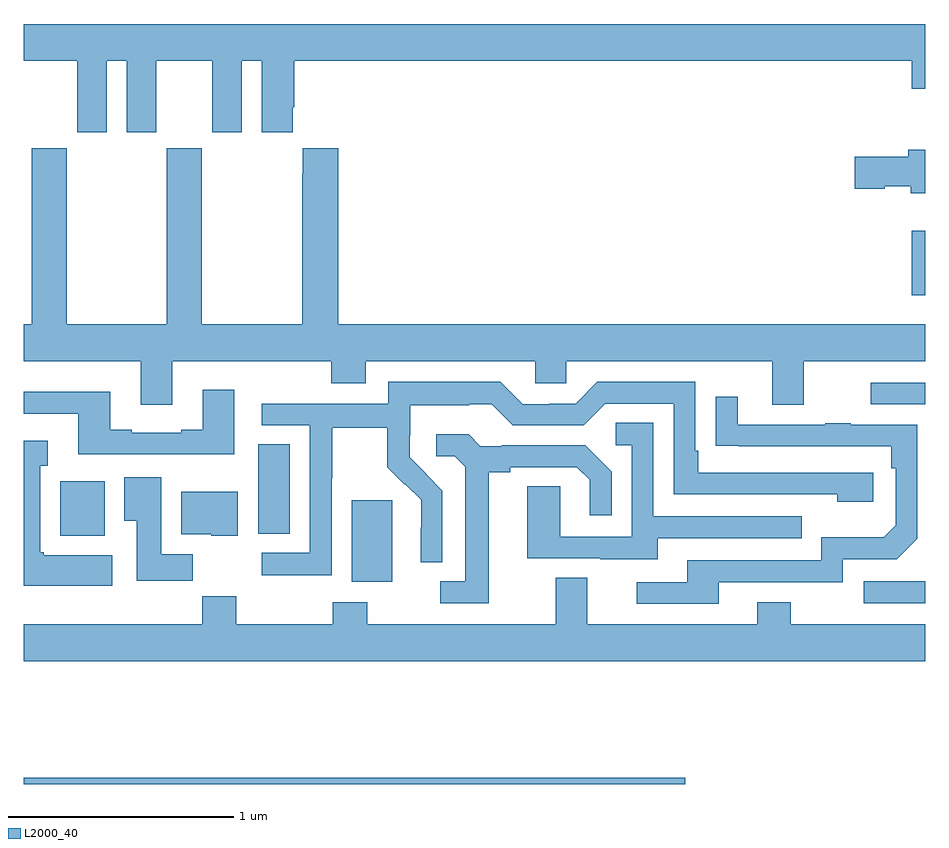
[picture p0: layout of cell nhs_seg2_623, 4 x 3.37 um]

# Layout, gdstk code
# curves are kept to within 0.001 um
import gdstk
lib = gdstk.Library(unit=1e-6, precision=1e-09)
def R(c, l, rs):  # rectangles x0, y0, x1, y1
    for r in rs: c.add(gdstk.rectangle(r[:2], r[2:], *l))
def P(c, l, *ps):  # polygons
    for p in ps: c.add(gdstk.Polygon(p, *l))
L2000_40 = (2000, 40)

nhs_seg2_623 = lib.new_cell('nhs_seg2_623')
R(nhs_seg2_623, L2000_40, [(143,605.8,145.936,605.828), (146.727,606.603,147,606.699), (144.455,606.698,144.634,607.059), (143.162,606.902,143.359,607.144), (144.041,606.91,144.181,607.307), (146.757,607.485,147,607.581), (146.939,607.968,147,608.254)])
P(nhs_seg2_623, L2000_40, [(143.368,609.008),(143.456,609.008),(143.456,608.691),(143.587,608.691),(143.587,609.008),(143.837,609.008),(143.837,608.691),(143.968,608.691),(143.968,609.008),(144.056,609.008),(144.056,608.691),(144.193,608.691),(144.193,608.803),(144.2,608.803),(144.2,609.008),(146.939,609.008),(146.939,608.884),(147,608.884),(147,609.172),(143,609.172),(143,609.008),(143.237,609.008),(143.237,608.691),(143.368,608.691)],
  [(147,608.614),(146.924,608.614),(146.924,608.583),(146.688,608.583),(146.688,608.441),(146.82,608.441),(146.82,608.453),(146.936,608.453),(146.936,608.42),(147,608.42)],
  [(144.395,608.62),(144.239,608.62),(144.239,608.507),(144.235,608.507),(144.235,607.84),(143.79,607.84),(143.79,608.62),(143.635,608.62),(143.635,607.84),(143.19,607.84),(143.19,608.62),(143.035,608.62),(143.035,607.84),(143,607.84),(143,607.676),(143.519,607.676),(143.519,607.482),(143.659,607.482),(143.659,607.676),(144.365,607.676),(144.365,607.577),(144.517,607.577),(144.517,607.676),(145.269,607.676),(145.269,607.578),(145.407,607.578),(145.407,607.676),(146.321,607.676),(146.321,607.482),(146.461,607.482),(146.461,607.676),(147,607.676),(147,607.84),(144.395,607.84)],
  [(144.366,607.156),(144.369,607.156),(144.369,607.38),(144.613,607.38),(144.613,607.205),(144.69,607.128),(144.693,607.131),(144.764,607.061),(144.764,606.938),(144.762,606.938),(144.762,606.784),(144.858,606.784),(144.858,607.102),(144.712,607.25),(144.712,607.347),(144.714,607.347),(144.714,607.481),(144.977,607.481),(144.977,607.485),(145.077,607.485),(145.17,607.392),(145.485,607.392),(145.581,607.488),(145.884,607.488),(145.884,607.086),(146.609,607.086),(146.609,607.052),(146.77,607.052),(146.77,607.182),(145.993,607.182),(145.993,607.279),(145.98,607.279),(145.98,607.584),(145.545,607.584),(145.449,607.488),(145.331,607.488),(145.331,607.485),(145.215,607.485),(145.115,607.585),(144.618,607.585),(144.618,607.488),(144.057,607.488),(144.057,607.392),(144.27,607.392),(144.27,606.825),(144.057,606.825),(144.057,606.727),(144.366,606.727)],
  [(143.935,607.549),(143.795,607.549),(143.795,607.372),(143.699,607.372),(143.699,607.359),(143.479,607.359),(143.479,607.372),(143.383,607.372),(143.383,607.54),(143,607.54),(143,607.443),(143.243,607.443),(143.243,607.263),(143.707,607.263),(143.707,607.262),(143.935,607.262)],
  [(146.083,606.696),(146.634,606.696),(146.634,606.798),(146.874,606.798),(146.964,606.888),(146.964,607.395),(146.669,607.395),(146.669,607.4),(146.557,607.4),(146.557,607.395),(146.167,607.395),(146.167,607.519),(146.071,607.519),(146.071,607.3),(146.848,607.299),(146.848,607.202),(146.868,607.202),(146.868,606.948),(146.815,606.895),(146.538,606.895),(146.538,606.792),(145.943,606.792),(145.943,606.696),(145.719,606.696),(145.719,606.6),(146.083,606.6)],
  [(145.813,606.891),(146.453,606.891),(146.453,606.987),(145.794,606.987),(145.794,607.403),(145.626,607.403),(145.626,607.302),(145.698,607.302),(145.698,606.897),(145.38,606.897),(145.38,607.121),(145.235,607.121),(145.235,606.801),(145.559,606.801),(145.559,606.797),(145.813,606.797)],
  [(145.063,607.184),(145.159,607.184),(145.159,607.206),(145.454,607.206),(145.511,607.149),(145.511,606.993),(145.608,606.993),(145.608,607.186),(145.492,607.302),(145.12,607.302),(145.12,607.299),(145.026,607.299),(144.974,607.351),(144.831,607.351),(144.831,607.254),(144.912,607.254),(144.959,607.207),(144.959,606.699),(144.849,606.699),(144.849,606.603),(145.063,606.603)],
  [(143.392,606.814),(143.088,606.814),(143.088,606.828),(143.074,606.828),(143.074,607.211),(143.107,607.211),(143.107,607.324),(143,607.324),(143,606.68),(143.392,606.68)],
  [(143.75,606.82),(143.611,606.82),(143.611,607.162),(143.447,607.162),(143.447,606.968),(143.501,606.968),(143.501,606.702),(143.75,606.702)],
  [(143.95,607.096),(143.699,607.096),(143.699,606.908),(143.832,606.908),(143.832,606.902),(143.95,606.902)],
  [(147,606.508),(146.403,606.508),(146.403,606.607),(146.255,606.607),(146.255,606.508),(145.501,606.508),(145.501,606.716),(145.361,606.716),(145.361,606.508),(144.525,606.508),(144.525,606.607),(144.37,606.607),(144.37,606.508),(143.943,606.508),(143.943,606.632),(143.791,606.632),(143.791,606.508),(143,606.508),(143,606.344),(147,606.344)])

lib.write_gds('nhs_seg2_623.gds')
